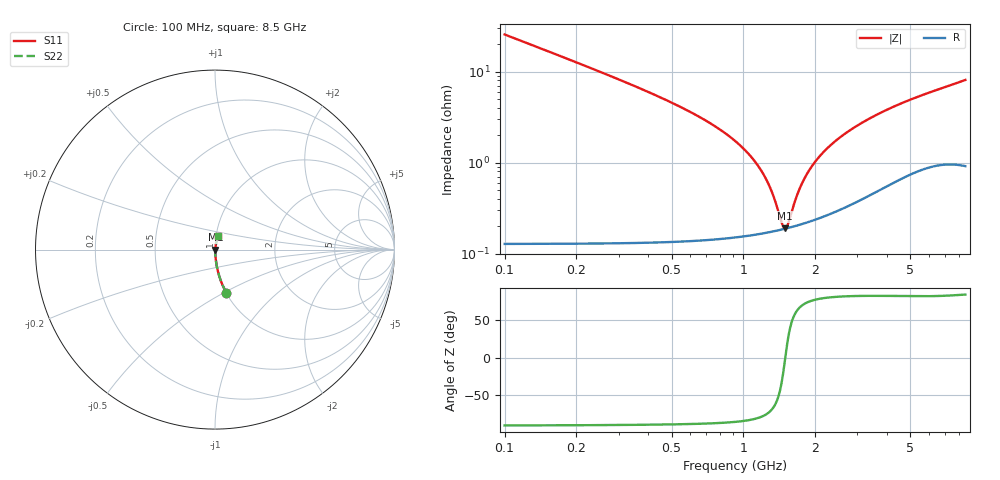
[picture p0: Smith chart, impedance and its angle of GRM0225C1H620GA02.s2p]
!Murata Part Number: GRM0225C1H620GA02
!These Parameters are Measured in Series Mode Connection
!Data Generated on Mar 30, 2021
!  o--ll--o
!Port1  Port2
!  o------o
!Operation Temp=25[degC], DC Bias Voltage=0[V]
!Freq. Start=100[MHz] Stop=9[GHz] 401[Steps]
# Hz S RI R 50
!Freq.(Hz) S11(Real) S11(Imag) S21(Real) S21(Imag) S12(Real) S12(Imag) S22(Real) S22(Imag)
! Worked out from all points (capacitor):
!   401 points, 100 MHz to 8.5 GHz, reference 50 ohm
!   read as one part in series: C = 62 pF near 142 MHz
!   lowest |Z| = 189 mohm at 1.486 GHz (marker M1)
!   series resonance near 1.497 GHz, so ESL is about 180 pH
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1e8  0.0624 -0.2393  0.9376 0.2393  0.9376 0.2393  0.0624 -0.2393
2.26e8  0.0134 -0.1094  0.9866 0.1094  0.9866 0.1094  0.0134 -0.1094
3.73e8  0.00544 -0.0641  0.9946 0.0641  0.9946 0.0641  0.00544 -0.0641
5.41e8  0.00304 -0.041  0.997 0.041  0.997 0.041  0.00304 -0.041
9.82e8  0.00175 -0.0148  0.9982 0.0148  0.9982 0.0148  0.00175 -0.0148
1.171e9  0.00171 -0.00846  0.9983 0.00846  0.9983 0.00846  0.00171 -0.00846
1.276e9  0.00174 -0.00547  0.9983 0.00547  0.9983 0.00547  0.00174 -0.00547
1.444e9  0.00183 -0.00123  0.9982 0.00123  0.9982 0.00123  0.00183 -0.00123
1.486e9  0.00187 -0.000251  0.9981 0.000251  0.9981 0.000251  0.00187 -0.000251
1.507e9  0.00188 0.000226  0.9981 -0.000226  0.9981 -0.000226  0.00188 0.000226
1.549e9  0.00192 0.00116  0.9981 -0.00116  0.9981 -0.00116  0.00192 0.00116
1.654e9  0.00202 0.00339  0.998 -0.00339  0.998 -0.00339  0.00202 0.00339
1.738e9  0.00211 0.00508  0.9979 -0.00508  0.9979 -0.00508  0.00211 0.00508
1.843e9  0.00224 0.0071  0.9978 -0.0071  0.9978 -0.0071  0.00224 0.0071
1.99e9  0.00244 0.00977  0.9976 -0.00977  0.9976 -0.00977  0.00244 0.00977
2.368e9  0.00305 0.016  0.997 -0.016  0.997 -0.016  0.00305 0.016
2.914e9  0.00414 0.0239  0.9959 -0.0239  0.9959 -0.0239  0.00414 0.0239
3.523e9  0.00561 0.0317  0.9944 -0.0317  0.9944 -0.0317  0.00561 0.0317
4.3e9  0.00771 0.0406  0.9923 -0.0406  0.9923 -0.0406  0.00771 0.0406
5.707e9  0.0114 0.0543  0.9886 -0.0543  0.9886 -0.0543  0.0114 0.0543
7.114e9  0.0139 0.0664  0.9861 -0.0664  0.9861 -0.0664  0.0139 0.0664
8.5e9  0.0153 0.0784  0.9847 -0.0784  0.9847 -0.0784  0.0153 0.0784
